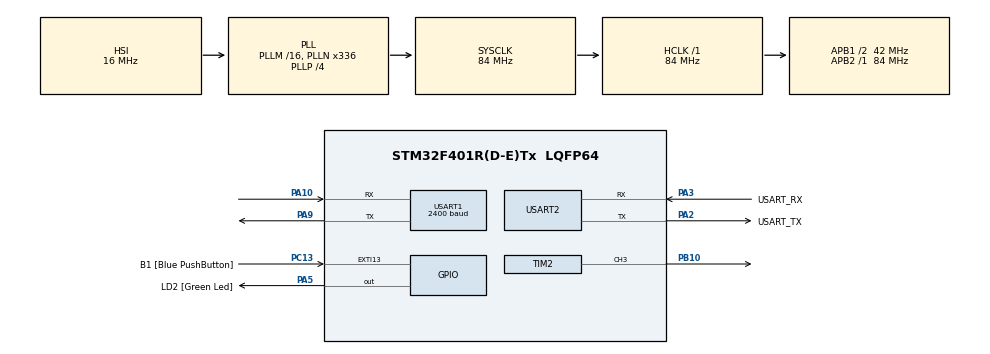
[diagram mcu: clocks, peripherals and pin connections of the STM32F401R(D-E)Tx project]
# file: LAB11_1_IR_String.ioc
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Mcu.Family=STM32F4
Mcu.Name=STM32F401R(D-E)Tx
Mcu.Package=LQFP64
NVIC.PriorityGroup=NVIC_PRIORITYGROUP_0
NVIC.TIM2_IRQn=true\:0\:0\:false\:false\:true\:true\:true\:true
NVIC.TIM3_IRQn=true\:0\:0\:false\:false\:true\:true\:true\:true
NVIC.USART1_IRQn=true\:0\:0\:false\:false\:true\:true\:true\:true
NVIC.USART2_IRQn=true\:0\:0\:false\:false\:true\:true\:true\:true
PA10.Mode=Asynchronous
PA10.Signal=USART1_RX
PA13.GPIO_Label=TMS
PA13.Mode=Serial_Wire
PA13.Signal=SYS_JTMS-SWDIO
PA14.GPIO_Label=TCK
PA14.Mode=Serial_Wire
PA14.Signal=SYS_JTCK-SWCLK
PA2.GPIO_Label=USART_TX
PA2.GPIO_Mode=GPIO_MODE_AF_PP
PA2.GPIO_PuPd=GPIO_NOPULL
PA2.GPIO_Speed=GPIO_SPEED_FREQ_LOW
PA2.Mode=Asynchronous
PA2.Signal=USART2_TX
PA3.GPIO_Label=USART_RX
PA3.GPIO_Mode=GPIO_MODE_AF_PP
PA3.GPIO_PuPd=GPIO_NOPULL
PA3.GPIO_Speed=GPIO_SPEED_FREQ_LOW
PA3.Mode=Asynchronous
PA3.Signal=USART2_RX
PA5.GPIO_Label=LD2 [Green Led]
PA5.GPIO_Mode=GPIO_MODE_OUTPUT_PP
PA5.GPIO_PuPd=GPIO_NOPULL
PA5.GPIO_Speed=GPIO_SPEED_FREQ_LOW
PA5.Signal=GPIO_Output
PA9.Mode=Asynchronous
PA9.Signal=USART1_TX
PB10.Signal=S_TIM2_CH3
PB3.GPIO_Label=SWO
PB3.Signal=SYS_JTDO-SWO
PC13-ANTI_TAMP.GPIO_Label=B1 [Blue PushButton]
PC13-ANTI_TAMP.GPIO_ModeDefaultEXTI=GPIO_MODE_IT_FALLING
PC13-ANTI_TAMP.GPIO_PuPd=GPIO_NOPULL
PC13-ANTI_TAMP.Signal=GPXTI13
PC14-OSC32_IN.Mode=LSE-External-Oscillator
PC14-OSC32_IN.Signal=RCC_OSC32_IN
PC15-OSC32_OUT.Mode=LSE-External-Oscillator
PC15-OSC32_OUT.Signal=RCC_OSC32_OUT
PH0\ -\ OSC_IN.Mode=HSE-External-Clock-Source
PH0\ -\ OSC_IN.Signal=RCC_OSC_IN
PH1\ -\ OSC_OUT.Mode=HSE-External-Clock-Source
PH1\ -\ OSC_OUT.Signal=RCC_OSC_OUT
ProjectManager.HeapSize=0x200
ProjectManager.StackSize=0x400
ProjectManager.TargetToolchain=STM32CubeIDE
RCC.48MHZClocksFreq_Value=48000000
RCC.AHBFreq_Value=84000000
RCC.APB1CLKDivider=RCC_HCLK_DIV2
RCC.APB1Freq_Value=42000000
RCC.APB1TimFreq_Value=84000000
RCC.APB2Freq_Value=84000000
RCC.APB2TimFreq_Value=84000000
RCC.CortexFreq_Value=84000000
RCC.HCLKFreq_Value=84000000
RCC.HSE_VALUE=8000000
RCC.HSI_VALUE=16000000
RCC.PLLN=336
RCC.PLLP=RCC_PLLP_DIV4
RCC.PLLQ=7
RCC.SYSCLKFreq_VALUE=84000000
RCC.SYSCLKSource=RCC_SYSCLKSOURCE_PLLCLK
RCC.VCOOutputFreq_Value=336000000
SH.S_TIM2_CH3.0=TIM2_CH3,PWM Generation3 CH3
TIM2.Channel-PWM\ Generation3\ CH3=TIM_CHANNEL_3
TIM2.OCMode_PWM-PWM\ Generation3\ CH3=TIM_OCMODE_PWM2
TIM2.Period=2211-1
TIM2.Prescaler=0
TIM2.Pulse-PWM\ Generation3\ CH3=1105
TIM3.Period=35000-1
USART1.BaudRate=2400
USART1.Mode=MODE_RX
USART1.VirtualMode=VM_ASYNC
USART2.VirtualMode=VM_ASYNC
VP_TIM2_VS_ClockSourceINT.Mode=Internal
VP_TIM3_VS_ClockSourceINT.Mode=Internal
board=NUCLEO-F401RE

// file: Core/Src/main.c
/* USER CODE BEGIN Header */
/**
  ******************************************************************************
  * @file           : main.c
  * @brief          : Main program body
  ******************************************************************************
  * @attention
  *
  * Copyright (c) 2022 STMicroelectronics.
  * All rights reserved.
  *
  * This software is licensed under terms that can be found in the LICENSE file
  * in the root directory of this software component.
  * If no LICENSE file comes with this software, it is provided AS-IS.
  *
  ******************************************************************************
  */
/* USER CODE END Header */
#include "main.h"

TIM_HandleTypeDef htim2;
TIM_HandleTypeDef htim3;

UART_HandleTypeDef huart1;
UART_HandleTypeDef huart2;

void SystemClock_Config(void);
static void MX_GPIO_Init(void);
static void MX_USART2_UART_Init(void);
static void MX_TIM2_Init(void);
static void MX_TIM3_Init(void);
static void MX_USART1_UART_Init(void);

/* USER CODE BEGIN 0 */

//START : send a zero -> blink
//STOP : send a 1 -> led off (no blinking)
//TIM2CH3 -> 38kHz PWM
//TIM3 -> 2400 bps

//8 bit received data
char receivedByte;

//flag that indicates when a baud period has elapsed
int elapsedBaud = 0;

void IRStringTransmit(char string[]){
	//transmit the string byte by byte
	int j = 0;
	while(string[j] != '\0'){
		IRByteTransmit(string[j]);
		j++;
		HAL_Delay(1);
	}
}

void IRByteTransmit(char byte){

	int bits[8];

	  //convert byte into bit
	  //bits[0] = LSB
	  for(int i = 0; i < 8; i++){
		  if((byte & (0x01 << i)) == 0)
			  //Send a zero
			  bits[i] = 0;
		  else
			  //send a '1'
			  bits[i] = 1;
	  }

	  //Start the baud rate counter (2400bps)
	  elapsedBaud = 1;
	  HAL_TIM_Base_Start_IT(&htim3);
	  while(elapsedBaud == 0){
		  //wait one baud period to sync -> useful for the first transmission
	  }

	  //transmit START signal ('0')
	  HAL_TIM_PWM_Start(&htim2, TIM_CHANNEL_3);
	  elapsedBaud = 0;
	  while(elapsedBaud == 0){
		  //wait for a baud period
	  }

	  //transmit the bits
	  for(int i = 0; i < 8; i ++){
		  if(bits[i] == 0){
			  //send a zero -> start PWM
			  HAL_TIM_PWM_Start(&htim2, TIM_CHANNEL_3);
		  }
		  else{
			  //send a '1' -> stop PWM
			  HAL_TIM_PWM_Stop(&htim2, TIM_CHANNEL_3);
		  }
		  elapsedBaud = 0;
		  while(elapsedBaud == 0){
			  //wait for a baud period
		  }
	  }

	  //Send the Stop bit '1'
	  HAL_TIM_PWM_Stop(&htim2, TIM_CHANNEL_3);
	  while(elapsedBaud == 0){
		  //wait for a baud period
	  }

	  //stop timer for baud rate
	  HAL_TIM_Base_Stop_IT(&htim3);
	  elapsedBaud = 0;

}

void HAL_TIM_PeriodElapsedCallback(TIM_HandleTypeDef *htim){

	if(htim == &htim3){
		elapsedBaud = 1;
	}

}

//used for transmitting data
char str[64];
int len;

//Loopback: retransmit the received data to PC using UART2
void HAL_UART_RxCpltCallback(UART_HandleTypeDef *huart){

	if(huart == &huart1){
		//Return waiting for incoming transmissions
		HAL_UART_Receive_IT(&huart1, (uint8_t*)&receivedByte, 1);

		//Save received data
		char RX = receivedByte;
		//Print what has been received
		HAL_UART_Transmit(&huart2, (uint8_t*)&RX, 1,10);

	}
}

/* USER CODE END 0 */

int main(void)
{

  /* MCU Configuration--------------------------------------------------------*/

  /* Reset of all peripherals, Initializes the Flash interface and the Systick. */
  HAL_Init();

  /* Configure the system clock */
  SystemClock_Config();

  /* Initialize all configured peripherals */
  MX_GPIO_Init();
  MX_USART2_UART_Init();
  MX_TIM2_Init();
  MX_TIM3_Init();
  MX_USART1_UART_Init();
  /* USER CODE BEGIN 2 */

  HAL_UART_Receive_IT(&huart1, (uint8_t*)&receivedByte, 1);
  /* USER CODE END 2 */

  /* Infinite loop */
  /* USER CODE BEGIN WHILE */
  while (1)
  {
	  char stringToSend[] = "Hello world! \r\n";

	  IRStringTransmit(stringToSend);
	  HAL_Delay(1000);

	  /* USER CODE END WHILE */

  }
}

void SystemClock_Config(void)
{
  RCC_OscInitTypeDef RCC_OscInitStruct = {0};
  RCC_ClkInitTypeDef RCC_ClkInitStruct = {0};

  /** Configure the main internal regulator output voltage
  */
  __HAL_RCC_PWR_CLK_ENABLE();
  __HAL_PWR_VOLTAGESCALING_CONFIG(PWR_REGULATOR_VOLTAGE_SCALE2);

  /** Initializes the RCC Oscillators according to the specified parameters
  * in the RCC_OscInitTypeDef structure.
  */
  RCC_OscInitStruct.OscillatorType = RCC_OSCILLATORTYPE_HSI;
  RCC_OscInitStruct.HSIState = RCC_HSI_ON;
  RCC_OscInitStruct.HSICalibrationValue = RCC_HSICALIBRATION_DEFAULT;
  RCC_OscInitStruct.PLL.PLLState = RCC_PLL_ON;
  RCC_OscInitStruct.PLL.PLLSource = RCC_PLLSOURCE_HSI;
  RCC_OscInitStruct.PLL.PLLM = 16;
  RCC_OscInitStruct.PLL.PLLN = 336;
  RCC_OscInitStruct.PLL.PLLP = RCC_PLLP_DIV4;
  RCC_OscInitStruct.PLL.PLLQ = 7;
  if (HAL_RCC_OscConfig(&RCC_OscInitStruct) != HAL_OK)
  {
    Error_Handler();
  }

  /** Initializes the CPU, AHB and APB buses clocks
  */
  RCC_ClkInitStruct.ClockType = RCC_CLOCKTYPE_HCLK|RCC_CLOCKTYPE_SYSCLK
                              |RCC_CLOCKTYPE_PCLK1|RCC_CLOCKTYPE_PCLK2;
  RCC_ClkInitStruct.SYSCLKSource = RCC_SYSCLKSOURCE_PLLCLK;
  RCC_ClkInitStruct.AHBCLKDivider = RCC_SYSCLK_DIV1;
  RCC_ClkInitStruct.APB1CLKDivider = RCC_HCLK_DIV2;
  RCC_ClkInitStruct.APB2CLKDivider = RCC_HCLK_DIV1;

  if (HAL_RCC_ClockConfig(&RCC_ClkInitStruct, FLASH_LATENCY_2) != HAL_OK)
  {
    Error_Handler();
  }
}

static void MX_TIM2_Init(void)
{

  TIM_ClockConfigTypeDef sClockSourceConfig = {0};
  TIM_MasterConfigTypeDef sMasterConfig = {0};
  TIM_OC_InitTypeDef sConfigOC = {0};

  htim2.Instance = TIM2;
  htim2.Init.Prescaler = 0;
  htim2.Init.CounterMode = TIM_COUNTERMODE_UP;
  htim2.Init.Period = 2211-1;
  htim2.Init.ClockDivision = TIM_CLOCKDIVISION_DIV1;
  htim2.Init.AutoReloadPreload = TIM_AUTORELOAD_PRELOAD_DISABLE;
  if (HAL_TIM_Base_Init(&htim2) != HAL_OK)
  {
    Error_Handler();
  }
  sClockSourceConfig.ClockSource = TIM_CLOCKSOURCE_INTERNAL;
  if (HAL_TIM_ConfigClockSource(&htim2, &sClockSourceConfig) != HAL_OK)
  {
    Error_Handler();
  }
  if (HAL_TIM_PWM_Init(&htim2) != HAL_OK)
  {
    Error_Handler();
  }
  sMasterConfig.MasterOutputTrigger = TIM_TRGO_RESET;
  sMasterConfig.MasterSlaveMode = TIM_MASTERSLAVEMODE_DISABLE;
  if (HAL_TIMEx_MasterConfigSynchronization(&htim2, &sMasterConfig) != HAL_OK)
  {
    Error_Handler();
  }
  sConfigOC.OCMode = TIM_OCMODE_PWM2;
  sConfigOC.Pulse = 1105;
  sConfigOC.OCPolarity = TIM_OCPOLARITY_HIGH;
  sConfigOC.OCFastMode = TIM_OCFAST_DISABLE;
  if (HAL_TIM_PWM_ConfigChannel(&htim2, &sConfigOC, TIM_CHANNEL_3) != HAL_OK)
  {
    Error_Handler();
  }
  HAL_TIM_MspPostInit(&htim2);

}

static void MX_TIM3_Init(void)
{

  TIM_ClockConfigTypeDef sClockSourceConfig = {0};
  TIM_MasterConfigTypeDef sMasterConfig = {0};

  htim3.Instance = TIM3;
  htim3.Init.Prescaler = 0;
  htim3.Init.CounterMode = TIM_COUNTERMODE_UP;
  htim3.Init.Period = 35000-1;
  htim3.Init.ClockDivision = TIM_CLOCKDIVISION_DIV1;
  htim3.Init.AutoReloadPreload = TIM_AUTORELOAD_PRELOAD_DISABLE;
  if (HAL_TIM_Base_Init(&htim3) != HAL_OK)
  {
    Error_Handler();
  }
  sClockSourceConfig.ClockSource = TIM_CLOCKSOURCE_INTERNAL;
  if (HAL_TIM_ConfigClockSource(&htim3, &sClockSourceConfig) != HAL_OK)
  {
    Error_Handler();
  }
  sMasterConfig.MasterOutputTrigger = TIM_TRGO_RESET;
  sMasterConfig.MasterSlaveMode = TIM_MASTERSLAVEMODE_DISABLE;
  if (HAL_TIMEx_MasterConfigSynchronization(&htim3, &sMasterConfig) != HAL_OK)
  {
    Error_Handler();
  }

}

static void MX_USART1_UART_Init(void)
{

  huart1.Instance = USART1;
  huart1.Init.BaudRate = 2400;
  huart1.Init.WordLength = UART_WORDLENGTH_8B;
  huart1.Init.StopBits = UART_STOPBITS_1;
  huart1.Init.Parity = UART_PARITY_NONE;
  huart1.Init.Mode = UART_MODE_RX;
  huart1.Init.HwFlowCtl = UART_HWCONTROL_NONE;
  huart1.Init.OverSampling = UART_OVERSAMPLING_16;
  if (HAL_UART_Init(&huart1) != HAL_OK)
  {
    Error_Handler();
  }

}

static void MX_USART2_UART_Init(void)
{

  huart2.Instance = USART2;
  huart2.Init.BaudRate = 115200;
  huart2.Init.WordLength = UART_WORDLENGTH_8B;
  huart2.Init.StopBits = UART_STOPBITS_1;
  huart2.Init.Parity = UART_PARITY_NONE;
  huart2.Init.Mode = UART_MODE_TX_RX;
  huart2.Init.HwFlowCtl = UART_HWCONTROL_NONE;
  huart2.Init.OverSampling = UART_OVERSAMPLING_16;
  if (HAL_UART_Init(&huart2) != HAL_OK)
  {
    Error_Handler();
  }

}

static void MX_GPIO_Init(void)
{
  GPIO_InitTypeDef GPIO_InitStruct = {0};

  /* GPIO Ports Clock Enable */
  __HAL_RCC_GPIOC_CLK_ENABLE();
  __HAL_RCC_GPIOH_CLK_ENABLE();
  __HAL_RCC_GPIOA_CLK_ENABLE();
  __HAL_RCC_GPIOB_CLK_ENABLE();

  /*Configure GPIO pin Output Level */
  HAL_GPIO_WritePin(LD2_GPIO_Port, LD2_Pin, GPIO_PIN_RESET);

  /*Configure GPIO pin : B1_Pin */
  GPIO_InitStruct.Pin = B1_Pin;
  GPIO_InitStruct.Mode = GPIO_MODE_IT_FALLING;
  GPIO_InitStruct.Pull = GPIO_NOPULL;
  HAL_GPIO_Init(B1_GPIO_Port, &GPIO_InitStruct);

  /*Configure GPIO pin : LD2_Pin */
  GPIO_InitStruct.Pin = LD2_Pin;
  GPIO_InitStruct.Mode = GPIO_MODE_OUTPUT_PP;
  GPIO_InitStruct.Pull = GPIO_NOPULL;
  GPIO_InitStruct.Speed = GPIO_SPEED_FREQ_LOW;
  HAL_GPIO_Init(LD2_GPIO_Port, &GPIO_InitStruct);

}

void Error_Handler(void)
{
  __disable_irq();
  while (1)
  {
  }
}
